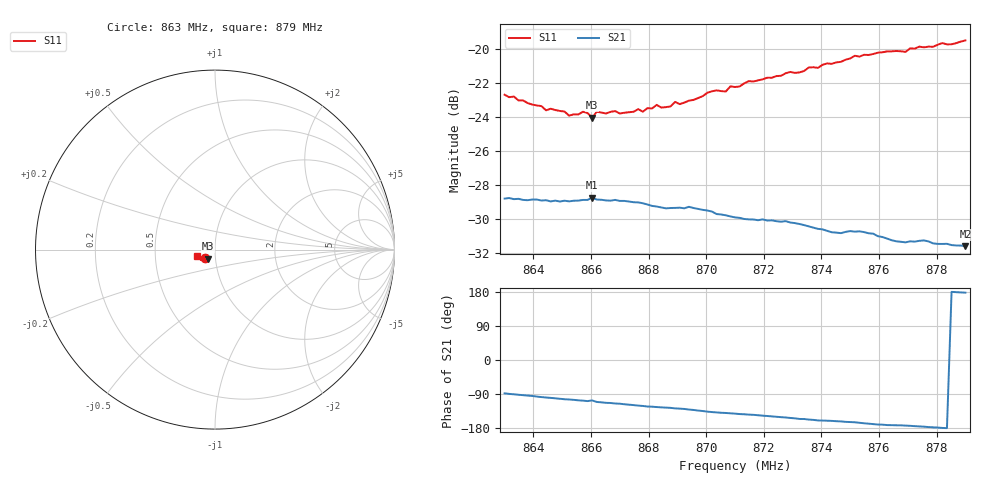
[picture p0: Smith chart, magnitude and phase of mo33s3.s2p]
# HZ S RI R 50
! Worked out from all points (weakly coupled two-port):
!   101 points, 863 MHz to 879 MHz, reference 50 ohm
!   highest |S21| = -28.73 dB at 866.04 MHz (marker M1); lowest = -31.6 dB at 879 MHz (marker M2)
!   lowest |S11| = -24.1 dB at 866.04 MHz (marker M3), VSWR 1.13, Z = 46.1 - j4.6 ohm
!   |S11| at or under -10 dB: start of sweep to end of sweep
!   S12 and S22 are empty: the file has one direction only
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8.63e8  -0.054 -0.0495  0.00131 -0.0363  0 0  0 0
8.6444e8  -0.0458 -0.0474  -0.00565 -0.0355  0 0  0 0
8.6508e8  -0.0452 -0.0473  -0.00841 -0.0348  0 0  0 0
8.6524e8  -0.0442 -0.0458  -0.00872 -0.0346  0 0  0 0
8.6572e8  -0.043 -0.0491  -0.0107 -0.0344  0 0  0 0
8.6604e8  -0.0383 -0.0497  -0.0105 -0.035  0 0  0 0
8.662e8  -0.0433 -0.0488  -0.0128 -0.0338  0 0  0 0
8.67e8  -0.0407 -0.0501  -0.0153 -0.0323  0 0  0 0
8.6764e8  -0.0409 -0.0524  -0.0179 -0.0306  0 0  0 0
8.678e8  -0.0403 -0.0514  -0.0183 -0.0301  0 0  0 0
8.6828e8  -0.0412 -0.0546  -0.0194 -0.0285  0 0  0 0
8.6844e8  -0.0404 -0.0537  -0.0196 -0.028  0 0  0 0
8.694e8  -0.0421 -0.0564  -0.0225 -0.026  0 0  0 0
8.71e8  -0.0493 -0.0594  -0.025 -0.0199  0 0  0 0
8.7276e8  -0.0584 -0.0613  -0.0275 -0.0148  0 0  0 0
8.7372e8  -0.0629 -0.0618  -0.0277 -0.0112  0 0  0 0
8.7468e8  -0.0695 -0.0595  -0.0274 -0.00886  0 0  0 0
8.7532e8  -0.075 -0.0578  -0.0282 -0.00722  0 0  0 0
8.7644e8  -0.083 -0.0523  -0.0272 -0.00384  0 0  0 0
8.7692e8  -0.0849 -0.0484  -0.0269 -0.00324  0 0  0 0
8.7756e8  -0.0905 -0.0444  -0.0273 -0.00196  0 0  0 0
8.79e8  -0.1001 -0.0338  -0.0263 0.00106  0 0  0 0
